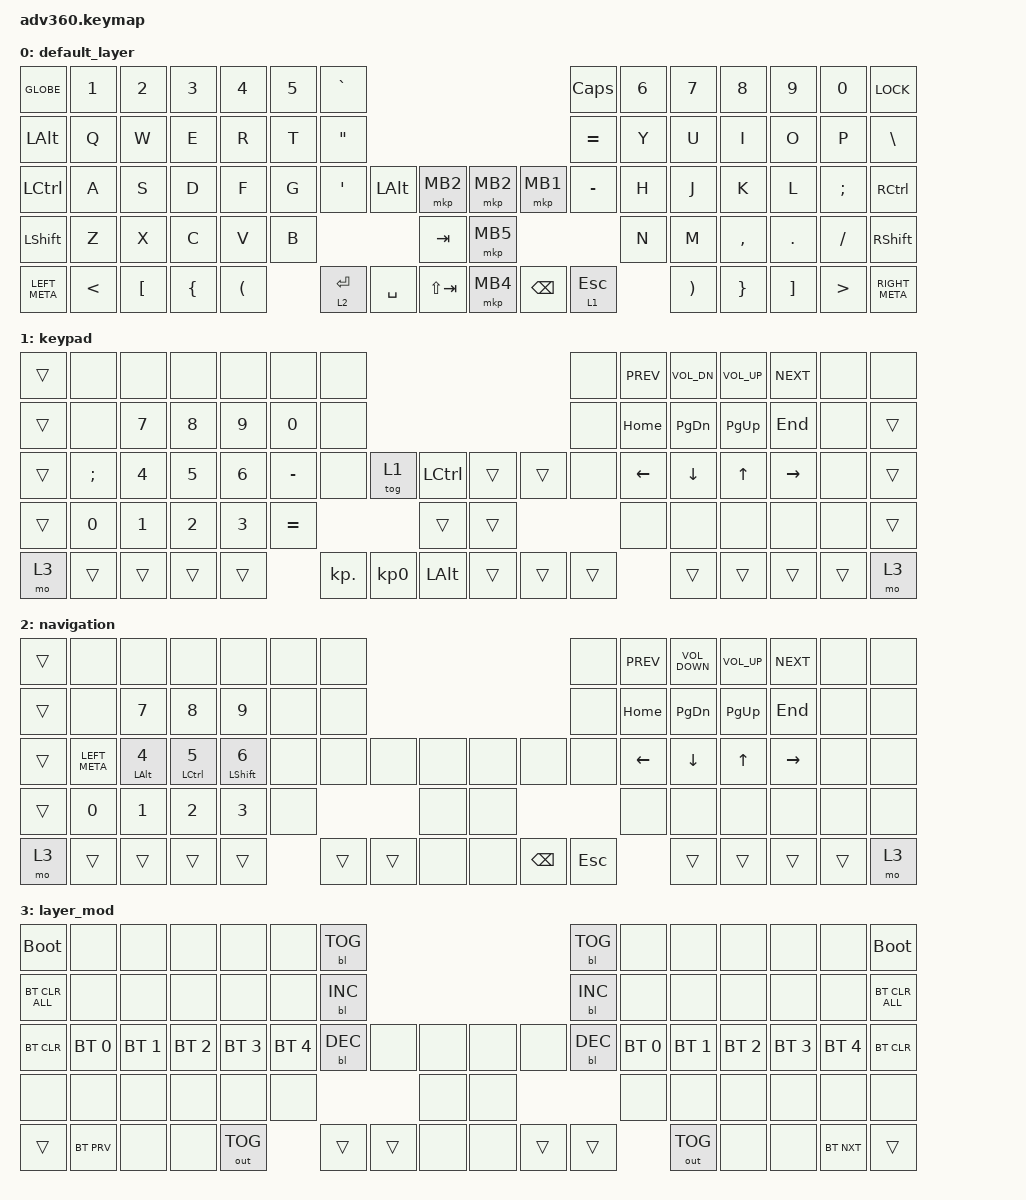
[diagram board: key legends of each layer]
/*
 * Copyright (c) 2020 The ZMK Contributors
 *
 * SPDX-License-Identifier: MIT
 */
/* THIS FILE WAS GENERATED!
 *
 * This file was generated automatically. You may or may not want to
 * edit it directly.
 */

#include <dt-bindings/zmk/mouse.h>
#include <behaviors.dtsi>
#include <dt-bindings/zmk/backlight.h>
#include <dt-bindings/zmk/bt.h>
#include <dt-bindings/zmk/keys.h>
#include <dt-bindings/zmk/outputs.h>
#include <dt-bindings/zmk/pointing.h>

/ {
    behaviors {
        #include "macros.dtsi"
    #include "version.dtsi"

        hm: homerow_mods {
            compatible = "zmk,behavior-hold-tap";
            label = "HOMEROW_MODS";
            #binding-cells = <2>;
            tapping-term-ms = <200>;
            quick_tap_ms = <175>;
            flavor = "tap-preferred";
            bindings = <&kp>, <&kp>;
        };

        mo_tog: behavior_mo_tog {
            compatible = "zmk,behavior-hold-tap";
            label = "MO_TOG";
            #binding-cells = <2>;
            tapping-term-ms = <200>;
            flavor = "hold-preferred";
            bindings = <&mo>, <&to>;
        };
    };

    combos {
        compatible = "zmk,combos";

        right-mb3 {
            bindings = <&mkp MB3>;
            key-positions = <37 38>;
        };
    };

    keymap {
        compatible = "zmk,keymap";

        default_layer {
            bindings = <
&kp GLOBE      &kp N1         &kp N2            &kp N3          &kp N4                &kp N5  &kp GRAVE                                                                  &kp CAPS   &kp N6  &kp N7                 &kp N8           &kp N9             &kp N0            &kp K_LOCK
&kp LEFT_ALT   &kp Q          &kp W             &kp E           &kp R                 &kp T   &kp DOUBLE_QUOTES                                                          &kp EQUAL  &kp Y   &kp U                  &kp I            &kp O              &kp P             &kp BSLH
&kp LCTRL      &kp A          &kp S             &kp D           &kp F                 &kp G   &kp SINGLE_QUOTE   &kp LEFT_ALT  &mkp MB2         &mkp MB2  &mkp MB1       &kp MINUS  &kp H   &kp J                  &kp K            &kp L              &kp SEMI          &kp RIGHT_CONTROL
&kp LSHFT      &kp Z          &kp X             &kp C           &kp V                 &kp B                                    &kp TAB          &mkp MB5                            &kp N   &kp M                  &kp COMMA        &kp DOT            &kp SLASH         &kp RSHFT
&kp LEFT_META  &kp LESS_THAN  &kp LEFT_BRACKET  &kp LEFT_BRACE  &kp LEFT_PARENTHESIS          &lt 2 ENTER        &kp SPACE     &kp LS(TAB)      &mkp MB4  &kp BACKSPACE  &lt 1 ESC          &kp RIGHT_PARENTHESIS  &kp RIGHT_BRACE  &kp RIGHT_BRACKET  &kp GREATER_THAN  &kp RIGHT_META
            >;
        };

        keypad {
            bindings = <
&trans  &none     &none         &none   &none   &none      &none                                                 &none   &kp C_PREV      &kp C_VOL_DN    &kp C_VOL_UP  &kp C_NEXT       &none   &none
&trans  &none     &kp N7        &kp N8  &kp N9  &kp N0     &none                                                 &none   &kp HOME        &kp PAGE_DOWN   &kp PAGE_UP   &kp END          &none   &trans
&trans  &kp SEMI  &kp N4        &kp N5  &kp N6  &kp MINUS  &none       &tog 1     &kp LCTRL      &trans  &trans  &none   &kp LEFT_ARROW  &kp DOWN_ARROW  &kp UP_ARROW  &kp RIGHT_ARROW  &none   &trans
&trans  &kp N0    &kp NUMBER_1  &kp N2  &kp N3  &kp EQUAL                         &trans         &trans                  &none           &none           &none         &none            &none   &trans
&mo 3   &trans    &trans        &trans  &trans             &kp KP_DOT  &kp KP_N0  &kp LALT       &trans  &trans  &trans                  &trans          &trans        &trans           &trans  &mo 3
            >;
        };

        navigation {
            bindings = <
&trans  &none          &none            &none                &none              &none  &none                                            &none       &kp C_PREV      &kp C_VOLUME_DOWN  &kp C_VOLUME_UP  &kp C_NEXT       &none   &none
&trans  &none          &kp N7           &kp N8               &kp N9             &none  &none                                            &none       &kp HOME        &kp PAGE_DOWN      &kp PAGE_UP      &kp END          &none   &none
&trans  &kp LEFT_META  &mt LEFT_ALT N4  &mt LEFT_CONTROL N5  &mt LEFT_SHIFT N6  &none  &none   &none   &none      &none  &none          &none       &kp LEFT_ARROW  &kp DOWN_ARROW     &kp UP_ARROW     &kp RIGHT_ARROW  &none   &none
&trans  &kp N0         &kp NUMBER_1     &kp N2               &kp N3             &none                  &none      &none                             &none           &none              &none            &none            &none   &none
&mo 3   &trans         &trans           &trans               &trans                    &trans  &trans  &none      &none  &kp BACKSPACE  &kp ESCAPE                  &trans             &trans           &trans           &trans  &mo 3
            >;
        };

        layer_mod {
            bindings = <
&bootloader     &none         &none         &none         &none         &none         &bl BL_TOG                                    &bl BL_TOG  &none         &none         &none         &none         &none         &bootloader
&bt BT_CLR_ALL  &none         &none         &none         &none         &none         &bl BL_INC                                    &bl BL_INC  &none         &none         &none         &none         &none         &bt BT_CLR_ALL
&bt BT_CLR      &bt BT_SEL 0  &bt BT_SEL 1  &bt BT_SEL 2  &bt BT_SEL 3  &bt BT_SEL 4  &bl BL_DEC  &none   &none      &none  &none   &bl BL_DEC  &bt BT_SEL 0  &bt BT_SEL 1  &bt BT_SEL 2  &bt BT_SEL 3  &bt BT_SEL 4  &bt BT_CLR
&none           &none         &none         &none         &none         &none                             &none      &none                      &none         &none         &none         &none         &none         &none
&trans          &bt BT_PRV    &none         &none         &out OUT_TOG                &trans      &trans  &none      &none  &trans  &trans                    &out OUT_TOG  &none         &none         &bt BT_NXT    &trans
            >;
        };
    };
};
